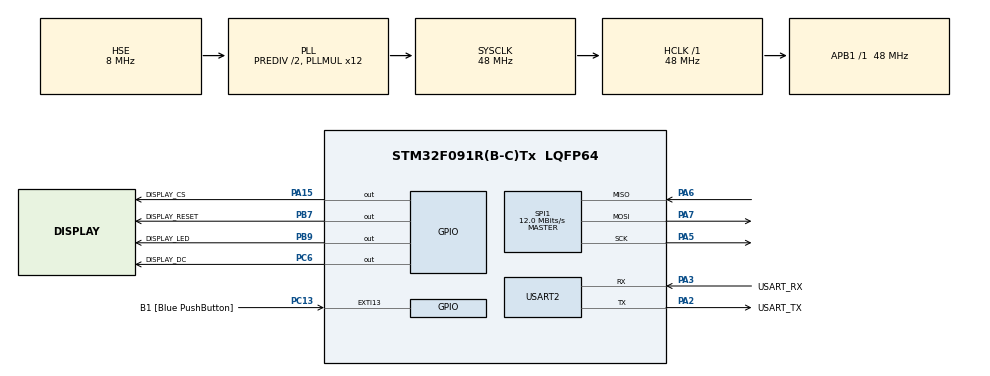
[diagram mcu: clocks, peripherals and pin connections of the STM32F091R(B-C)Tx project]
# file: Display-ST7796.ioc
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Dma.Request0=USART2_RX
Dma.Request1=SPI1_TX
Dma.SPI1_TX.1.Direction=DMA_MEMORY_TO_PERIPH
Dma.SPI1_TX.1.Instance=DMA1_Channel3
Dma.SPI1_TX.1.MemDataAlignment=DMA_MDATAALIGN_BYTE
Dma.SPI1_TX.1.MemInc=DMA_MINC_ENABLE
Dma.SPI1_TX.1.Mode=DMA_NORMAL
Dma.SPI1_TX.1.PeriphDataAlignment=DMA_PDATAALIGN_BYTE
Dma.SPI1_TX.1.PeriphInc=DMA_PINC_DISABLE
Dma.SPI1_TX.1.Priority=DMA_PRIORITY_LOW
Dma.USART2_RX.0.Direction=DMA_PERIPH_TO_MEMORY
Dma.USART2_RX.0.Instance=DMA1_Channel1
Dma.USART2_RX.0.MemDataAlignment=DMA_MDATAALIGN_BYTE
Dma.USART2_RX.0.MemInc=DMA_MINC_ENABLE
Dma.USART2_RX.0.Mode=DMA_NORMAL
Dma.USART2_RX.0.PeriphDataAlignment=DMA_PDATAALIGN_BYTE
Dma.USART2_RX.0.PeriphInc=DMA_PINC_DISABLE
Dma.USART2_RX.0.Priority=DMA_PRIORITY_LOW
Mcu.Family=STM32F0
Mcu.Name=STM32F091R(B-C)Tx
Mcu.Package=LQFP64
NVIC.DMA1_Ch1_IRQn=true\:0\:0\:false\:false\:true\:false\:true\:true
NVIC.DMA1_Ch2_3_DMA2_Ch1_2_IRQn=true\:0\:0\:false\:false\:true\:false\:true\:true
NVIC.USART2_IRQn=true\:0\:0\:false\:false\:true\:true\:true\:true
PA13.GPIO_Label=TMS
PA13.Mode=Serial_Wire
PA13.Signal=SYS_SWDIO
PA14.GPIO_Label=TCK
PA14.Mode=Serial_Wire
PA14.Signal=SYS_SWCLK
PA15.GPIO_Label=DISPLAY_CS
PA15.Signal=GPIO_Output
PA2.GPIO_Label=USART_TX
PA2.GPIO_Mode=GPIO_MODE_AF_PP
PA2.GPIO_PuPd=GPIO_NOPULL
PA2.GPIO_Speed=GPIO_SPEED_FREQ_LOW
PA2.Mode=Asynchronous
PA2.Signal=USART2_TX
PA3.GPIO_Label=USART_RX
PA3.GPIO_Mode=GPIO_MODE_AF_PP
PA3.GPIO_PuPd=GPIO_NOPULL
PA3.GPIO_Speed=GPIO_SPEED_FREQ_LOW
PA3.Mode=Asynchronous
PA3.Signal=USART2_RX
PA5.Mode=Full_Duplex_Master
PA5.Signal=SPI1_SCK
PA6.Mode=Full_Duplex_Master
PA6.Signal=SPI1_MISO
PA7.Mode=Full_Duplex_Master
PA7.Signal=SPI1_MOSI
PB7.GPIO_Label=DISPLAY_RESET
PB7.Signal=GPIO_Output
PB9.GPIO_Label=DISPLAY_LED
PB9.Signal=GPIO_Output
PC13.GPIO_Label=B1 [Blue PushButton]
PC13.GPIO_ModeDefaultEXTI=GPIO_MODE_IT_FALLING
PC13.Signal=GPXTI13
PC14OSC32_IN.Mode=LSE-External-Oscillator
PC14OSC32_IN.Signal=RCC_OSC32_IN
PC15OSC32_OUT.Mode=LSE-External-Oscillator
PC15OSC32_OUT.Signal=RCC_OSC32_OUT
PC6.GPIO_Label=DISPLAY_DC
PC6.Signal=GPIO_Output
PF0-OSC_IN.Mode=HSE-External-Clock-Source
PF0-OSC_IN.Signal=RCC_OSC_IN
PF1-OSC_OUT.Signal=RCC_OSC_OUT
ProjectManager.HeapSize=0x200
ProjectManager.StackSize=0x400
ProjectManager.TargetToolchain=STM32CubeIDE
RCC.AHBFreq_Value=48000000
RCC.APB1Freq_Value=48000000
RCC.APB1TimFreq_Value=48000000
RCC.FLatency-AdvancedSettings=FLASH_LATENCY_1
RCC.HCLKFreq_Value=48000000
RCC.PLLDivider=RCC_PREDIV_DIV2
RCC.PLLMUL=RCC_PLL_MUL12
RCC.PLLSourceVirtual=RCC_PLLSOURCE_HSE
RCC.PREFETCH_ENABLE-AdvancedSettings=1
RCC.SYSCLKFreq_VALUE=48000000
RCC.SYSCLKSource=RCC_SYSCLKSOURCE_PLLCLK
SPI1.BaudRatePrescaler=SPI_BAUDRATEPRESCALER_4
SPI1.CalculateBaudRate=12.0 MBits/s
SPI1.DataSize=SPI_DATASIZE_8BIT
SPI1.Direction=SPI_DIRECTION_2LINES
SPI1.Mode=SPI_MODE_MASTER
SPI1.VirtualType=VM_MASTER
USART2.VirtualMode=VM_ASYNC
USART2.VirtualMode-Asynchronous=VM_ASYNC
board=NUCLEO-F091RC

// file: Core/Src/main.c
/* USER CODE BEGIN Header */
/**
 ******************************************************************************
 * @file           : main.c
 * @brief          : Main program body
 ******************************************************************************
 * @attention
 *
 * Copyright (c) 2026 STMicroelectronics.
 * All rights reserved.
 *
 * This software is licensed under terms that can be found in the LICENSE file
 * in the root directory of this software component.
 * If no LICENSE file comes with this software, it is provided AS-IS.
 *
 ******************************************************************************
 */
/* USER CODE END Header */
#include "main.h"

/* USER CODE BEGIN Includes */
#include "commands.h"
#include "display-ili9488.h"
#include "main.h"

#include "File_002_ObjNum_001_NEW_6_17_26.h"
#include "File_072_ObjNum_135_480x320_6_18_26.h"
#include "File_079_ObjNum_149_480x320_6_17_26.h"

/* USER CODE END Includes */

SPI_HandleTypeDef hspi1;
DMA_HandleTypeDef hdma_spi1_tx;

UART_HandleTypeDef huart2;
DMA_HandleTypeDef hdma_usart2_rx;

void SystemClock_Config(void);
static void MX_GPIO_Init(void);
static void MX_DMA_Init(void);
static void MX_USART2_UART_Init(void);
static void MX_SPI1_Init(void);

int main(void) {

  /* MCU Configuration--------------------------------------------------------*/

  /* Reset of all peripherals, Initializes the Flash interface and the Systick.
   */
  HAL_Init();

  /* Configure the system clock */
  SystemClock_Config();

  /* Initialize all configured peripherals */
  MX_GPIO_Init();
  MX_DMA_Init();
  MX_USART2_UART_Init();
  MX_SPI1_Init();
  /* USER CODE BEGIN 2 */
  // DMA serial command recieve until IDLE
  HAL_UARTEx_ReceiveToIdle_DMA(&huart2, getCommandBuffer(), getCommandSize());

  // initializing display
  ILI9488_INIT(&hspi1);
  // initializing commands
  commandsInit(&hspi1);

  ILI9488_FILL(&hspi1);
  ILI9488_LOAD(&hspi1, 0, 0, &File_002_ObjNum_001_NEW_6_17_26, true);

  HAL_Delay(100);
  ILI9488_LOAD(&hspi1, 0, 0, &File_072_ObjNum_135_480x320_6_18_26, true);

  /* USER CODE END 2 */

  /* Infinite loop */
  while (1) {

  }
}

void SystemClock_Config(void) {
  RCC_OscInitTypeDef RCC_OscInitStruct = {0};
  RCC_ClkInitTypeDef RCC_ClkInitStruct = {0};
  RCC_PeriphCLKInitTypeDef PeriphClkInit = {0};

  /** Initializes the RCC Oscillators according to the specified parameters
   * in the RCC_OscInitTypeDef structure.
   */
  RCC_OscInitStruct.OscillatorType = RCC_OSCILLATORTYPE_HSE;
  RCC_OscInitStruct.HSEState = RCC_HSE_BYPASS;
  RCC_OscInitStruct.PLL.PLLState = RCC_PLL_ON;
  RCC_OscInitStruct.PLL.PLLSource = RCC_PLLSOURCE_HSE;
  RCC_OscInitStruct.PLL.PLLMUL = RCC_PLL_MUL12;
  RCC_OscInitStruct.PLL.PREDIV = RCC_PREDIV_DIV2;
  if (HAL_RCC_OscConfig(&RCC_OscInitStruct) != HAL_OK) {
    Error_Handler();
  }

  /** Initializes the CPU, AHB and APB buses clocks
   */
  RCC_ClkInitStruct.ClockType =
      RCC_CLOCKTYPE_HCLK | RCC_CLOCKTYPE_SYSCLK | RCC_CLOCKTYPE_PCLK1;
  RCC_ClkInitStruct.SYSCLKSource = RCC_SYSCLKSOURCE_PLLCLK;
  RCC_ClkInitStruct.AHBCLKDivider = RCC_SYSCLK_DIV1;
  RCC_ClkInitStruct.APB1CLKDivider = RCC_HCLK_DIV1;

  if (HAL_RCC_ClockConfig(&RCC_ClkInitStruct, FLASH_LATENCY_1) != HAL_OK) {
    Error_Handler();
  }
  PeriphClkInit.PeriphClockSelection = RCC_PERIPHCLK_USART2;
  PeriphClkInit.Usart2ClockSelection = RCC_USART2CLKSOURCE_PCLK1;
  if (HAL_RCCEx_PeriphCLKConfig(&PeriphClkInit) != HAL_OK) {
    Error_Handler();
  }
}

static void MX_SPI1_Init(void) {

  /* SPI1 parameter configuration*/
  hspi1.Instance = SPI1;
  hspi1.Init.Mode = SPI_MODE_MASTER;
  hspi1.Init.Direction = SPI_DIRECTION_2LINES;
  hspi1.Init.DataSize = SPI_DATASIZE_8BIT;
  hspi1.Init.CLKPolarity = SPI_POLARITY_LOW;
  hspi1.Init.CLKPhase = SPI_PHASE_1EDGE;
  hspi1.Init.NSS = SPI_NSS_SOFT;
  hspi1.Init.BaudRatePrescaler = SPI_BAUDRATEPRESCALER_4;
  hspi1.Init.FirstBit = SPI_FIRSTBIT_MSB;
  hspi1.Init.TIMode = SPI_TIMODE_DISABLE;
  hspi1.Init.CRCCalculation = SPI_CRCCALCULATION_DISABLE;
  hspi1.Init.CRCPolynomial = 7;
  hspi1.Init.CRCLength = SPI_CRC_LENGTH_DATASIZE;
  hspi1.Init.NSSPMode = SPI_NSS_PULSE_ENABLE;
  if (HAL_SPI_Init(&hspi1) != HAL_OK) {
    Error_Handler();
  }
}

static void MX_USART2_UART_Init(void) {

  huart2.Instance = USART2;
  huart2.Init.BaudRate = 115200;
  huart2.Init.WordLength = UART_WORDLENGTH_8B;
  huart2.Init.StopBits = UART_STOPBITS_1;
  huart2.Init.Parity = UART_PARITY_NONE;
  huart2.Init.Mode = UART_MODE_TX_RX;
  huart2.Init.HwFlowCtl = UART_HWCONTROL_NONE;
  huart2.Init.OverSampling = UART_OVERSAMPLING_16;
  huart2.Init.OneBitSampling = UART_ONE_BIT_SAMPLE_DISABLE;
  huart2.AdvancedInit.AdvFeatureInit = UART_ADVFEATURE_NO_INIT;
  if (HAL_UART_Init(&huart2) != HAL_OK) {
    Error_Handler();
  }
}

static void MX_DMA_Init(void) {

  /* DMA controller clock enable */
  __HAL_RCC_DMA1_CLK_ENABLE();

  /* DMA interrupt init */
  /* DMA1_Ch1_IRQn interrupt configuration */
  HAL_NVIC_SetPriority(DMA1_Ch1_IRQn, 0, 0);
  HAL_NVIC_EnableIRQ(DMA1_Ch1_IRQn);
  /* DMA1_Ch2_3_DMA2_Ch1_2_IRQn interrupt configuration */
  HAL_NVIC_SetPriority(DMA1_Ch2_3_DMA2_Ch1_2_IRQn, 0, 0);
  HAL_NVIC_EnableIRQ(DMA1_Ch2_3_DMA2_Ch1_2_IRQn);
}

static void MX_GPIO_Init(void) {
  GPIO_InitTypeDef GPIO_InitStruct = {0};

  /* GPIO Ports Clock Enable */
  __HAL_RCC_GPIOC_CLK_ENABLE();
  __HAL_RCC_GPIOF_CLK_ENABLE();
  __HAL_RCC_GPIOA_CLK_ENABLE();
  __HAL_RCC_GPIOB_CLK_ENABLE();

  /*Configure GPIO pin Output Level */
  HAL_GPIO_WritePin(DISPLAY_DC_GPIO_Port, DISPLAY_DC_Pin, GPIO_PIN_RESET);

  /*Configure GPIO pin Output Level */
  HAL_GPIO_WritePin(DISPLAY_CS_GPIO_Port, DISPLAY_CS_Pin, GPIO_PIN_RESET);

  /*Configure GPIO pin Output Level */
  HAL_GPIO_WritePin(GPIOB, DISPLAY_RESET_Pin | DISPLAY_LED_Pin, GPIO_PIN_RESET);

  /*Configure GPIO pin : B1_Pin */
  GPIO_InitStruct.Pin = B1_Pin;
  GPIO_InitStruct.Mode = GPIO_MODE_IT_FALLING;
  GPIO_InitStruct.Pull = GPIO_NOPULL;
  HAL_GPIO_Init(B1_GPIO_Port, &GPIO_InitStruct);

  /*Configure GPIO pin : DISPLAY_DC_Pin */
  GPIO_InitStruct.Pin = DISPLAY_DC_Pin;
  GPIO_InitStruct.Mode = GPIO_MODE_OUTPUT_PP;
  GPIO_InitStruct.Pull = GPIO_NOPULL;
  GPIO_InitStruct.Speed = GPIO_SPEED_FREQ_LOW;
  HAL_GPIO_Init(DISPLAY_DC_GPIO_Port, &GPIO_InitStruct);

  /*Configure GPIO pin : DISPLAY_CS_Pin */
  GPIO_InitStruct.Pin = DISPLAY_CS_Pin;
  GPIO_InitStruct.Mode = GPIO_MODE_OUTPUT_PP;
  GPIO_InitStruct.Pull = GPIO_NOPULL;
  GPIO_InitStruct.Speed = GPIO_SPEED_FREQ_LOW;
  HAL_GPIO_Init(DISPLAY_CS_GPIO_Port, &GPIO_InitStruct);

  /*Configure GPIO pins : DISPLAY_RESET_Pin DISPLAY_LED_Pin */
  GPIO_InitStruct.Pin = DISPLAY_RESET_Pin | DISPLAY_LED_Pin;
  GPIO_InitStruct.Mode = GPIO_MODE_OUTPUT_PP;
  GPIO_InitStruct.Pull = GPIO_NOPULL;
  GPIO_InitStruct.Speed = GPIO_SPEED_FREQ_LOW;
  HAL_GPIO_Init(GPIOB, &GPIO_InitStruct);

}

void Error_Handler(void) {
  __disable_irq();
  while (1) {
  }
}
#ifdef USE_FULL_ASSERT
/**
 * @brief  Reports the name of the source file and the source line number
 *         where the assert_param error has occurred.
 * @param  file: pointer to the source file name
 * @param  line: assert_param error line source number
 * @retval None
 */
void assert_failed(uint8_t *file, uint32_t line) {
  /* USER CODE BEGIN 6 */
  /* User can add his own implementation to report the file name and line
     number, ex: printf("Wrong parameters value: file %s on line %d\r\n", file,
     line) */
  /* USER CODE END 6 */
}
#endif /* USE_FULL_ASSERT */
